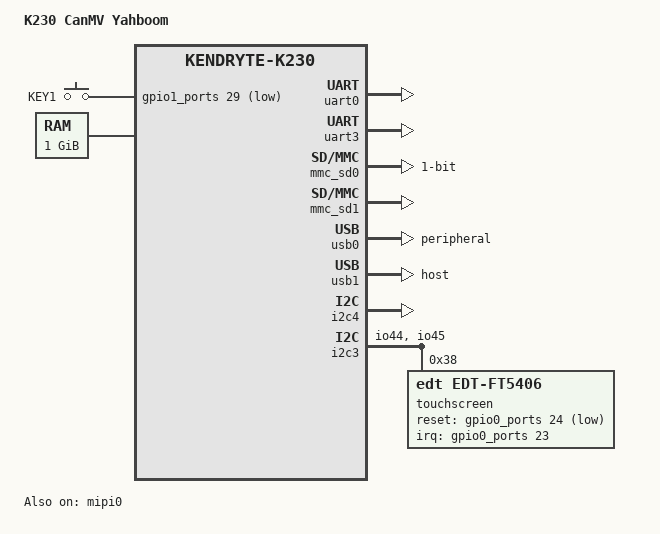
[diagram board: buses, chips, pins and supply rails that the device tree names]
// SPDX-License-Identifier: GPL-2.0 OR MIT
#include "k230.dtsi"
#include "display-d240c2501v1.dtsi"
#include <dt-bindings/gpio/gpio.h>
#include <dt-bindings/input/input.h>

/ {
	model = "K230 CanMV Yahboom";
	compatible = "kendryte,k230_canmv_yahboom", "canaan,canmv-k230", "canaan,kendryte-k230";
	aliases {
		serial3 = &uart3;
		i2c0 = &i2c4;
		i2c1 = &i2c3;
		mmc0 = &mmc_sd0;
		mmc1 = &mmc_sd1;
	};
	chosen { stdout-path = "serial0:115200n8";	};
	gpio-keys {
		compatible = "gpio-keys-polled";
		label = "Yahboom KEY1";
		poll-interval = <20>;
		pinctrl-names = "default";
		pinctrl-0 = <&key1_pins>;

		key1 {
			label = "KEY1";
			linux,code = <KEY_PROG1>;
			gpios = <&gpio1_ports 29 GPIO_ACTIVE_LOW>;
			debounce-interval = <30>;
		};
	};
	ddr: memory@0 {
		device_type = "memory";
		reg = <0x0 0 0x0 0x40000000>;
	};
};

&uart0 { status = "okay"; };
&uart3 { status = "okay"; };
&mmc_sd0{
	status = "okay";
	cap-sd-highspeed;
	bus-width = <1>;
	max-frequency = <50000000>;
	rx_delay_line = <0x0d>;
	tx_delay_line = <0xb0>;
	clocks = <&sd0_cclk_gate>,<&sd0_cclk_gate>;
	clock-names = "core", "bus";
	sdhci-caps-mask = <0x2 0>;
};
&mmc_sd1{ status = "okay"; no-1-8-v; cap-sd-highspeed; mshc_ctrl_r = <0x00>; };
&usb0 { dr_mode = "peripheral"; status = "okay"; };
&usb1 { dr_mode = "host"; status = "okay"; };
&i2c4 { status = "okay"; };
&v4l2isp {
	dev0-sensor-name = "gc2093";
	dev0-sensor-mode = <0>;
	dev0-sensor-i2c-bus = <0>; /* alias i2c0 = &i2c4 */
};
&vo { vth_line = <10>; background = <0x808000>; };
&mipi0 {
	id = <2>;
	reg = <0x0 0x9000a800 0x0 0x800>;
	interrupts = <121 IRQ_TYPE_LEVEL_HIGH>;
	resets = <&sysctl_reset K230_RESET_CSI2_REG_OFFSET K230_RESET_CSI2_TYPE
		  K230_RESET_CSI2_DONE_BIT K230_RESET_CSI2_ASSERT_BIT>,
		<&sysctl_reset K230_RESET_M2_REG_OFFSET K230_RESET_M2_TYPE
		 K230_RESET_M2_DONE_BIT K230_RESET_M2_ASSERT_BIT>;
	reset-gpios = <&gpio1_ports 30 GPIO_ACTIVE_HIGH>;
	status = "okay";
};
&iomux {
	key1_pins: key1-pins {
		pinmux {
			pins = "io61";
			function = "alt0";
			input-enable;
			output-disable;
			bias-pull-up;
		};
	};
	i2c3_pins: i2c3-pins {
		pinmux {
			pins = "io44", "io45";
			function = "alt2";
			bias-pull-up;
		};
	};
	touch_irq_pins: touch-irq-pins {
		pinmux {
			pins = "io23";
			function = "alt0";
			input-enable;
			output-disable;
			bias-pull-up;
		};
	};
};
&i2c3 {
	status = "okay";
	pinctrl-names = "default";
	pinctrl-0 = <&i2c3_pins>;
		touchscreen@38 {
			compatible = "edt,edt-ft5406";
			reg = <0x38>;
			pinctrl-names = "default";
			pinctrl-0 = <&touch_irq_pins>;
			reset-gpios = <&gpio0_ports 24 GPIO_ACTIVE_LOW>;
			interrupt-parent = <&gpio0_ports>;
			interrupts = <23 IRQ_TYPE_EDGE_FALLING>;
			touchscreen-size-x = <480>;
			touchscreen-size-y = <640>;
		};
};

&lcd {
	dsi_reset-gpios = <&gpio0_ports 22 GPIO_ACTIVE_HIGH>;
	backlight_gpio-gpios = <&gpio0_ports 25 GPIO_ACTIVE_LOW>;
};
